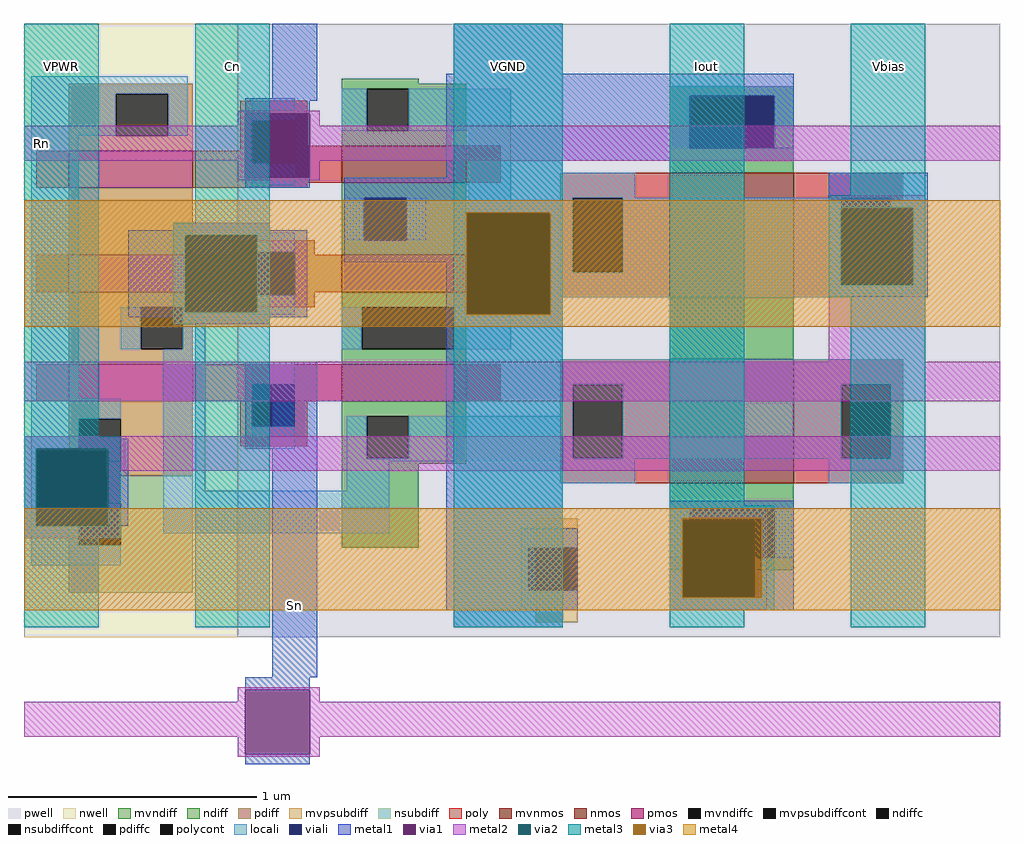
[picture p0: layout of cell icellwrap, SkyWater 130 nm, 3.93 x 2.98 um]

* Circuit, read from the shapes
.subckt icellwrap VPWR Cn VGND Iout Vbias Rn Sn
XM1 icell/PDM Sn icell/Ien VGND sky130_fd_pr__nfet_01v8 w=0.5 l=0.15
XM2 VGND Cn icell/PDM VGND sky130_fd_pr__nfet_01v8 w=0.5 l=0.15
XM3 icell/PDM Rn VGND VGND sky130_fd_pr__nfet_01v8 w=0.5 l=0.15
XM4 icell/SM icell/Ien Iout VGND sky130_fd_pr__nfet_g5v0d10v5 w=0.5 l=0.5
XM5 VGND Vbias icell/SM VGND sky130_fd_pr__nfet_g5v0d10v5 w=0.5 l=0.5
XM6 icell/Ien Sn VPWR VPWR sky130_fd_pr__pfet_01v8 w=0.5 l=0.15
XM7 icell/PUM Cn icell/Ien VPWR sky130_fd_pr__pfet_01v8 w=0.5 l=0.15
XM8 VPWR Rn icell/PUM VPWR sky130_fd_pr__pfet_01v8 w=0.5 l=0.15
.ends

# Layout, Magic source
magic
tech sky130A
<< metal1 >>
rect 100 212 118 243
rect 89 207 115 212
rect 89 177 115 181
rect 173 167 217 243
rect 60 158 99 163
rect 60 127 65 158
rect 94 127 99 158
rect 60 122 99 127
rect 173 126 178 167
rect 212 126 217 167
rect 324 169 363 174
rect 324 138 329 169
rect 358 138 363 169
rect 324 133 363 138
rect 0 72 39 77
rect 0 41 5 72
rect 34 41 39 72
rect 0 36 39 41
rect 100 -20 118 104
rect 173 0 217 126
rect 260 43 299 48
rect 260 12 265 43
rect 294 12 299 43
rect 260 7 299 12
rect 89 -25 115 -20
rect 89 -55 115 -51
<< via1 >>
rect 89 181 115 207
rect 65 127 94 158
rect 178 126 212 167
rect 329 138 358 169
rect 5 41 34 72
rect 265 12 294 43
rect 89 -51 115 -25
<< metal2 >>
rect 86 207 119 208
rect 86 202 89 207
rect 0 188 89 202
rect 86 181 89 188
rect 115 202 119 207
rect 115 188 393 202
rect 115 181 119 188
rect 86 180 119 181
rect 173 167 217 172
rect 60 158 99 163
rect 60 127 65 158
rect 94 127 99 158
rect 60 122 99 127
rect 173 126 178 167
rect 212 126 217 167
rect 173 121 217 126
rect 324 169 363 174
rect 324 138 329 169
rect 358 138 363 169
rect 324 107 363 138
rect 0 91 393 107
rect 0 72 393 77
rect 0 41 5 72
rect 34 63 393 72
rect 34 41 39 63
rect 0 36 39 41
rect 260 43 299 48
rect 260 12 265 43
rect 294 12 299 43
rect 260 7 299 12
rect 86 -25 119 -24
rect 86 -30 89 -25
rect 0 -44 89 -30
rect 86 -51 89 -44
rect 115 -30 119 -25
rect 115 -44 393 -30
rect 115 -51 119 -44
rect 86 -52 119 -51
<< via2 >>
rect 65 127 94 158
rect 178 126 212 167
rect 329 138 358 169
rect 5 41 34 72
rect 265 12 294 43
<< metal3 >>
rect 0 77 30 243
rect 69 163 99 243
rect 60 158 99 163
rect 60 127 65 158
rect 94 127 99 158
rect 60 122 99 127
rect 0 72 39 77
rect 0 41 5 72
rect 34 41 39 72
rect 0 36 39 41
rect 0 0 30 36
rect 69 0 99 122
rect 173 167 217 243
rect 173 126 178 167
rect 212 126 217 167
rect 173 0 217 126
rect 260 49 290 243
rect 333 174 363 243
rect 324 169 363 174
rect 324 138 329 169
rect 358 138 363 169
rect 324 133 363 138
rect 260 44 302 49
rect 260 12 265 44
rect 297 12 302 44
rect 260 7 302 12
rect 260 0 290 7
rect 333 0 363 133
<< via3 >>
rect 178 126 212 167
rect 265 43 297 44
rect 265 12 294 43
rect 294 12 297 43
<< metal4 >>
rect 0 167 393 172
rect 0 126 178 167
rect 212 126 393 167
rect 0 121 393 126
rect 0 44 393 48
rect 0 12 265 44
rect 297 12 393 44
rect 0 7 393 12
use icell  icell
transform 1 0 0 0 1 0
box 0 -4 393 243
<< labels >>
flabel metal3 0 220 30 232 0 FreeSans 40 0 0 0 VPWR
port 1 nsew
flabel metal3 69 220 99 232 0 FreeSans 40 0 0 0 Cn
port 2 nsew
flabel metal3 173 220 217 232 0 FreeSans 40 0 0 0 VGND
port 3 nsew
flabel metal3 260 220 290 232 0 FreeSans 40 0 0 0 Iout
port 4 nsew
flabel metal3 333 220 363 232 0 FreeSans 40 0 0 0 Vbias
port 5 nsew
flabel metal1 100 0 118 18 0 FreeSans 40 0 0 0 Sn
port 7 nsew
flabel metal2 0 188 14 202 0 FreeSans 40 0 0 0 Rn
port 6 nsew
<< properties >>
string FIXED_BBOX 0 0 393 232
<< end >>

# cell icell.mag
magic
tech sky130A
<< nwell >>
rect 0 -4 86 243
<< pwell >>
rect 86 -4 393 243
<< nmos >>
rect 128 179 178 194
rect 128 135 178 150
rect 128 91 178 106
<< pmos >>
rect 18 177 68 192
rect 18 135 68 150
rect 18 91 68 106
<< mvnmos >>
rect 260 133 310 183
rect 260 58 310 108
<< ndiff >>
rect 128 219 159 221
rect 128 217 178 219
rect 128 200 138 217
rect 155 200 178 217
rect 128 194 178 200
rect 128 173 178 179
rect 128 156 137 173
rect 154 156 178 173
rect 128 150 178 156
rect 128 129 178 135
rect 128 112 136 129
rect 173 112 178 129
rect 128 106 178 112
rect 128 85 178 91
rect 128 68 138 85
rect 155 68 178 85
rect 128 66 178 68
rect 128 32 159 66
<< pdiff >>
rect 18 215 68 219
rect 18 198 37 215
rect 58 198 68 215
rect 18 192 68 198
rect 18 150 68 177
rect 18 129 68 135
rect 18 112 47 129
rect 64 112 68 129
rect 18 106 68 112
rect 18 84 68 91
rect 18 67 22 84
rect 39 67 68 84
rect 18 61 68 67
<< mvndiff >>
rect 260 214 310 218
rect 260 193 268 214
rect 302 193 310 214
rect 260 183 310 193
rect 260 108 310 133
rect 260 48 310 58
rect 260 28 268 48
rect 302 28 310 48
rect 260 23 310 28
<< ndiffc >>
rect 138 200 155 217
rect 137 156 154 173
rect 136 112 173 129
rect 138 68 155 85
<< pdiffc >>
rect 37 198 58 215
rect 47 112 64 129
rect 22 67 39 84
<< mvndiffc >>
rect 268 193 302 214
rect 268 28 302 48
<< nsubdiff >>
rect 18 50 68 61
rect 18 33 22 50
rect 39 33 68 50
rect 18 14 68 33
<< mvpsubdiff >>
rect 206 32 223 44
rect 206 2 223 15
<< nsubdiffcont >>
rect 22 33 39 50
<< mvpsubdiffcont >>
rect 206 15 223 32
<< poly >>
rect 87 204 114 212
rect 87 192 92 204
rect 5 177 18 192
rect 68 187 92 192
rect 109 194 114 204
rect 109 187 128 194
rect 68 179 128 187
rect 178 179 192 194
rect 68 177 114 179
rect 84 151 117 156
rect 84 150 92 151
rect 5 135 18 150
rect 68 135 92 150
rect 84 134 92 135
rect 109 150 117 151
rect 216 173 260 183
rect 109 135 128 150
rect 178 135 192 150
rect 216 143 221 173
rect 241 143 260 173
rect 109 134 117 135
rect 84 129 117 134
rect 216 133 260 143
rect 310 173 354 183
rect 310 143 329 173
rect 349 143 354 173
rect 310 133 354 143
rect 5 91 18 106
rect 68 98 128 106
rect 68 91 92 98
rect 87 81 92 91
rect 109 91 128 98
rect 178 91 192 106
rect 216 98 260 108
rect 109 81 114 91
rect 87 73 114 81
rect 216 68 221 98
rect 241 68 260 98
rect 216 58 260 68
rect 310 98 354 108
rect 310 68 329 98
rect 349 68 354 98
rect 310 58 354 68
<< polycont >>
rect 92 187 109 204
rect 92 134 109 151
rect 221 143 241 173
rect 329 143 349 173
rect 92 81 109 98
rect 221 68 241 98
rect 329 68 349 98
<< locali >>
rect 3 215 66 222
rect 3 198 37 215
rect 58 198 66 215
rect 92 204 109 213
rect 3 92 22 198
rect 128 200 138 217
rect 155 200 196 217
rect 92 178 109 187
rect 92 151 109 159
rect 129 156 137 173
rect 154 156 162 173
rect 39 112 47 129
rect 64 112 73 129
rect 92 126 109 134
rect 179 129 196 200
rect 260 214 310 218
rect 260 193 268 214
rect 302 193 310 214
rect 216 173 246 183
rect 324 173 354 183
rect 216 143 221 173
rect 241 143 329 173
rect 349 143 354 173
rect 216 133 354 143
rect 128 112 136 129
rect 173 112 196 129
rect 3 84 39 92
rect 3 33 22 84
rect 56 55 73 112
rect 92 98 109 107
rect 216 98 354 108
rect 216 85 221 98
rect 92 72 109 81
rect 130 68 138 85
rect 155 68 221 85
rect 241 68 329 98
rect 349 68 354 98
rect 130 67 246 68
rect 130 55 147 67
rect 216 58 246 67
rect 324 58 354 68
rect 56 38 147 55
rect 3 25 39 33
rect 200 32 223 40
rect 200 15 203 32
rect 260 28 268 48
rect 302 28 310 48
rect 200 7 223 15
<< viali >>
rect 92 187 109 204
rect 137 156 154 173
rect 92 134 109 151
rect 268 193 302 214
rect 329 143 349 173
rect 22 50 39 67
rect 92 81 109 98
rect 203 15 206 32
rect 206 15 220 32
rect 268 28 302 48
<< metal1 >>
rect 170 214 310 223
rect 89 204 115 213
rect 89 187 92 204
rect 109 187 115 204
rect 89 178 115 187
rect 170 193 268 214
rect 302 193 310 214
rect 170 188 310 193
rect 170 181 208 188
rect 129 173 208 181
rect 42 151 114 160
rect 42 134 92 151
rect 109 134 114 151
rect 129 156 137 173
rect 154 156 208 173
rect 129 147 208 156
rect 42 125 114 134
rect 89 98 118 107
rect 89 81 92 98
rect 109 81 118 98
rect 7 67 42 76
rect 89 72 118 81
rect 7 50 22 67
rect 39 50 42 67
rect 7 41 42 50
rect 170 40 208 147
rect 324 173 364 183
rect 324 143 329 173
rect 349 143 364 173
rect 324 133 364 143
rect 260 48 310 51
rect 170 32 223 40
rect 170 15 203 32
rect 220 15 223 32
rect 170 7 223 15
rect 260 28 268 48
rect 302 28 310 48
rect 260 7 310 28
<< labels >>
flabel metal1 178 150 203 175 0 FreeSans 64 0 0 0 VGND
port 4 nsew
flabel metal1 265 12 305 46 0 FreeSans 64 0 0 0 Iout
port 5 nsew
flabel metal1 329 138 359 178 0 FreeSans 80 0 0 0 Vbias
port 1 nsew
flabel mvndiff 265 113 305 128 0 FreeSans 80 0 0 0 SM
flabel pdiff 26 157 60 171 0 FreeSans 80 0 0 0 PUM
flabel metal1 47 130 72 155 0 FreeSans 64 0 0 0 Cn
port 7 nsew
flabel metal1 92 75 115 104 0 FreeSans 64 0 0 0 Sn
port 11 nsew
flabel metal1 12 46 37 71 0 FreeSans 64 0 0 0 VPWR
port 9 nsew
flabel locali 92 39 122 54 0 FreeSans 80 0 0 0 Ien
flabel metal1 92 181 115 210 0 FreeSans 64 0 0 0 Rn
port 12 nsew
flabel locali 130 201 136 215 0 FreeSans 80 0 0 0 PDM
<< properties >>
string FIXED_BBOX 0 0 393 232
<< end >>
